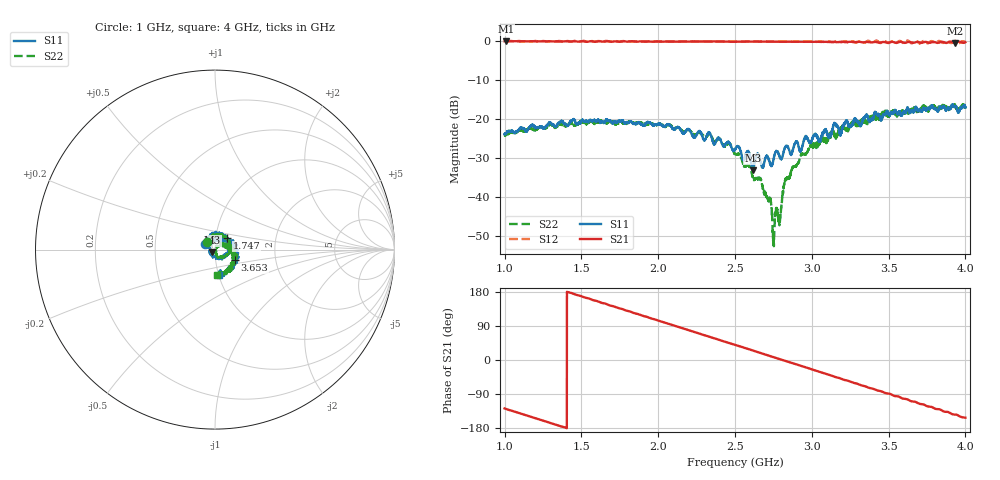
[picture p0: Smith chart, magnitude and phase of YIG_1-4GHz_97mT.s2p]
#  HZ  S  RI  R  50.0
! Rohde & Schwarz ZVL13 2Ports - Version 3.31 - 1303.6509k13 SN: 101088
! Date: 2023-03-06 14:43:44
! Data & Calibration Information:
! Trc4:S11(TOSM) Trc2:S21(TOSM) Trc3:S12(TOSM) Trc5:S22(TOSM)
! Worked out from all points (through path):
!   4000 points, 1 GHz to 4 GHz, reference 50 ohm
!   highest |S21| = -0.05 dB at 1.009 GHz (marker M1); lowest = -0.5 dB at 3.93 GHz (marker M2)
!   group delay of S21, straight-line fit = 357 ps
!   lowest |S11| = -33.3 dB at 2.616 GHz (marker M3), VSWR 1.04, Z = 48.5 - j1.55 ohm
!   |S11| at or under -10 dB: start of sweep to end of sweep
!   |S22| runs from -52.7 to -16.2 dB; largest |S21 - S12| = 0.072
!   S11 on the Smith chart (normalised r, x): 1 GHz: 0.89, +0.06; 1.747 GHz: 1.13, +0.15; 3.653 GHz: 1.24, -0.14; 4 GHz: 1.01, -0.28
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1e9  -0.0547 0.0335  -0.6088 -0.7836  -0.6152 -0.7822  -0.046 0.0399
1.009002e9  -0.0537 0.0375  -0.628 -0.7712  -0.6263 -0.7647  -0.0464 0.0413
1.255064e9  -0.0273 0.0692  -0.9332 -0.3244  -0.9413 -0.3322  -0.0156 0.0749
1.500375e9  0.02 0.0918  -0.9675 0.2018  -0.9734 0.1958  0.0393 0.0844
1.747187e9  0.0677 0.0647  -0.706 0.675  -0.7138 0.6755  0.0758 0.0478
2e9  0.0851 0.00424  -0.2395 0.9551  -0.2352 0.956  0.0861 -0.00338
2.23931e9  0.0455 -0.0348  0.2811 0.9422  0.2876 0.9453  0.05 -0.0375
2.331583e9  0.0394 -0.0538  0.4698 0.8656  0.4742 0.8649  0.0446 -0.0452
2.500375e9  -0.0107 -0.0389  0.7504 0.6287  0.7506 0.6252  0.0103 -0.0332
2.585896e9  -0.0208 -0.0327  0.858 0.476  0.865 0.4766  0.00672 -0.0243
2.615904e9  -0.0146 -0.016  0.8903 0.4156  0.8894 0.4163  0.00295 -0.0178
2.645911e9  -0.0302 -0.0185  0.9154 0.3545  0.9206 0.3516  0.00631 -0.016
2.722431e9  -0.0281 -0.00737  0.9624 0.19  0.9643 0.1913  -0.00115 -0.00932
2.754689e9  -0.0309 0.0108  0.9718 0.1174  0.9714 0.1136  0.00286 9.73e-06
2.794449e9  -0.0286 0.0127  0.9775 0.0325  0.9836 0.0305  0.00182 0.00494
2.830458e9  -0.0308 0.0314  0.9755 -0.0455  0.9797 -0.0409  0.012 0.0123
3e9  0.00769 0.0531  0.8878 -0.4062  0.8982 -0.4081  0.0304 0.0333
3.268567e9  0.0748 0.0431  0.4838 -0.8367  0.4939 -0.855  0.0897 0.0149
3.500375e9  0.1148 -0.00517  0.0237 -0.9489  0.0178 -0.941  0.0993 -0.0365
3.653413e9  0.1112 -0.0569  -0.3135 -0.8943  -0.2919 -0.889  0.0971 -0.0832
3.930233e9  0.0596 -0.1282  -0.7624 -0.5525  -0.8117 -0.5851  0.0418 -0.1459
4e9  0.0231 -0.1385  -0.8516 -0.4501  -0.8678 -0.4031  0.0138 -0.1349
